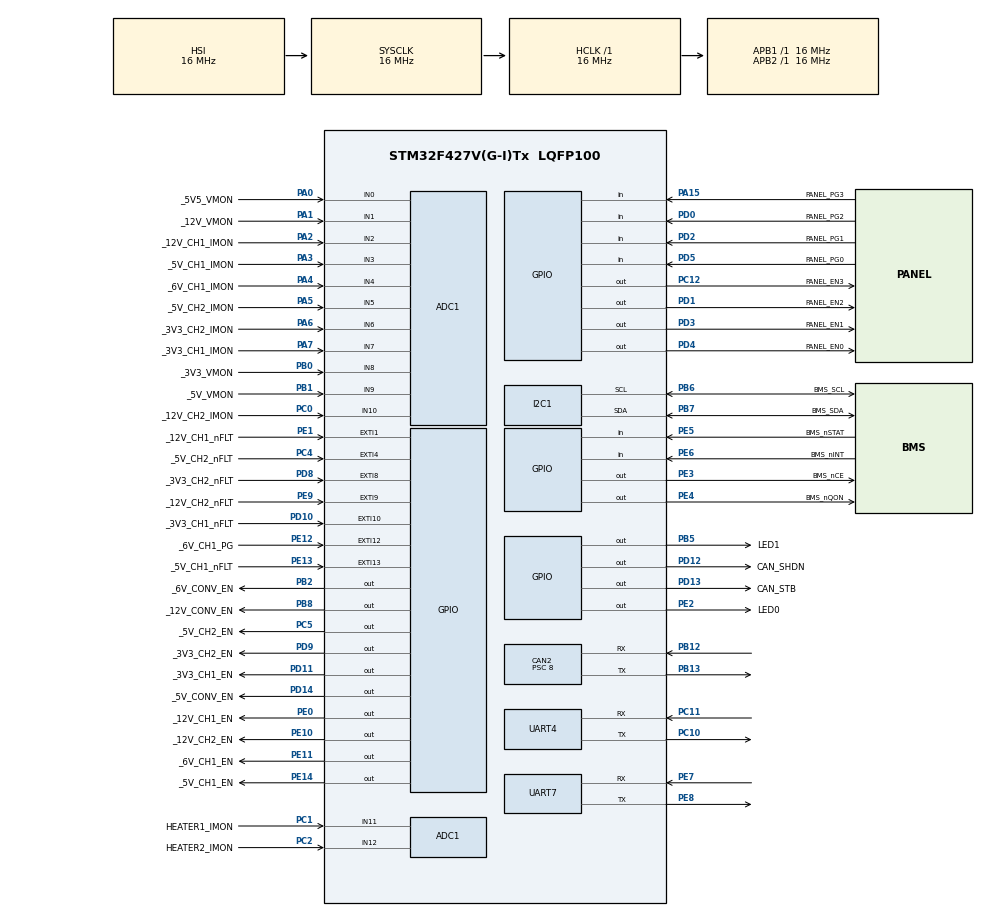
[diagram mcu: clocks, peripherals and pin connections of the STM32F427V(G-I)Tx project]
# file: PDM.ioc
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ADC1.Channel-0\#ChannelRegularConversion=ADC_CHANNEL_0
ADC1.Channel-1\#ChannelRegularConversion=ADC_CHANNEL_1
ADC1.Channel-10\#ChannelRegularConversion=ADC_CHANNEL_10
ADC1.Channel-11\#ChannelRegularConversion=ADC_CHANNEL_11
ADC1.Channel-12\#ChannelRegularConversion=ADC_CHANNEL_12
ADC1.Channel-13\#ChannelRegularConversion=ADC_CHANNEL_TEMPSENSOR
ADC1.Channel-2\#ChannelRegularConversion=ADC_CHANNEL_2
ADC1.Channel-3\#ChannelRegularConversion=ADC_CHANNEL_3
ADC1.Channel-4\#ChannelRegularConversion=ADC_CHANNEL_4
ADC1.Channel-5\#ChannelRegularConversion=ADC_CHANNEL_5
ADC1.Channel-6\#ChannelRegularConversion=ADC_CHANNEL_6
ADC1.Channel-7\#ChannelRegularConversion=ADC_CHANNEL_7
ADC1.Channel-8\#ChannelRegularConversion=ADC_CHANNEL_8
ADC1.Channel-9\#ChannelRegularConversion=ADC_CHANNEL_9
ADC1.ContinuousConvMode=DISABLE
ADC1.DMAContinuousRequests=DISABLE
ADC1.EOCSelection=ADC_EOC_SEQ_CONV
ADC1.ExternalTrigConv=ADC_SOFTWARE_START
ADC1.NbrOfConversion=14
ADC1.NbrOfConversionFlag=1
ADC1.Rank-0\#ChannelRegularConversion=1
ADC1.Rank-1\#ChannelRegularConversion=2
ADC1.Rank-10\#ChannelRegularConversion=11
ADC1.Rank-11\#ChannelRegularConversion=12
ADC1.Rank-12\#ChannelRegularConversion=13
ADC1.Rank-13\#ChannelRegularConversion=14
ADC1.Rank-2\#ChannelRegularConversion=3
ADC1.Rank-3\#ChannelRegularConversion=4
ADC1.Rank-4\#ChannelRegularConversion=5
ADC1.Rank-5\#ChannelRegularConversion=6
ADC1.Rank-6\#ChannelRegularConversion=7
ADC1.Rank-7\#ChannelRegularConversion=8
ADC1.Rank-8\#ChannelRegularConversion=9
ADC1.Rank-9\#ChannelRegularConversion=10
ADC1.SamplingTime-0\#ChannelRegularConversion=ADC_SAMPLETIME_112CYCLES
ADC1.SamplingTime-1\#ChannelRegularConversion=ADC_SAMPLETIME_112CYCLES
ADC1.SamplingTime-10\#ChannelRegularConversion=ADC_SAMPLETIME_112CYCLES
ADC1.SamplingTime-11\#ChannelRegularConversion=ADC_SAMPLETIME_112CYCLES
ADC1.SamplingTime-12\#ChannelRegularConversion=ADC_SAMPLETIME_112CYCLES
ADC1.SamplingTime-13\#ChannelRegularConversion=ADC_SAMPLETIME_112CYCLES
ADC1.SamplingTime-2\#ChannelRegularConversion=ADC_SAMPLETIME_112CYCLES
ADC1.SamplingTime-3\#ChannelRegularConversion=ADC_SAMPLETIME_28CYCLES
ADC1.SamplingTime-4\#ChannelRegularConversion=ADC_SAMPLETIME_112CYCLES
ADC1.SamplingTime-5\#ChannelRegularConversion=ADC_SAMPLETIME_112CYCLES
ADC1.SamplingTime-6\#ChannelRegularConversion=ADC_SAMPLETIME_112CYCLES
ADC1.SamplingTime-7\#ChannelRegularConversion=ADC_SAMPLETIME_112CYCLES
ADC1.SamplingTime-8\#ChannelRegularConversion=ADC_SAMPLETIME_112CYCLES
ADC1.SamplingTime-9\#ChannelRegularConversion=ADC_SAMPLETIME_112CYCLES
ADC1.master=1
CAN2.BS1=CAN_BS1_8TQ
CAN2.BS2=CAN_BS2_7TQ
CAN2.CalculateBaudRate=125000
CAN2.CalculateTimeBit=8000
CAN2.CalculateTimeQuantum=500.0
CAN2.Mode=CAN_MODE_NORMAL
CAN2.NART=DISABLE
CAN2.Prescaler=8
Dma.ADC1.0.Direction=DMA_PERIPH_TO_MEMORY
Dma.ADC1.0.FIFOMode=DMA_FIFOMODE_DISABLE
Dma.ADC1.0.Instance=DMA2_Stream0
Dma.ADC1.0.MemDataAlignment=DMA_MDATAALIGN_HALFWORD
Dma.ADC1.0.MemInc=DMA_MINC_ENABLE
Dma.ADC1.0.Mode=DMA_NORMAL
Dma.ADC1.0.PeriphDataAlignment=DMA_PDATAALIGN_HALFWORD
Dma.ADC1.0.PeriphInc=DMA_PINC_DISABLE
Dma.ADC1.0.Priority=DMA_PRIORITY_LOW
Dma.Request0=ADC1
FREERTOS.Tasks01=defaultTask,24,128,StartDefaultTask,Default,NULL,Dynamic,NULL,NULL;distrHandle,24,512,distributionTask,Default,NULL,Dynamic,NULL,NULL;telemetryHandle,40,512,telemetryTask,Default,NULL,Dynamic,NULL,NULL;heaterHandle,8,256,heaterTask,Default,NULL,Dynamic,NULL,NULL;BMSHandle,25,512,BMSTask,Default,NULL,Dynamic,NULL,NULL;commandHandle,42,512,commandTask,Default,NULL,Dynamic,NULL,NULL;analogHandle,8,512,analogTask,Default,NULL,Dynamic,NULL,NULL
Mcu.Family=STM32F4
Mcu.Name=STM32F427V(G-I)Tx
Mcu.Package=LQFP100
NVIC.CAN2_RX0_IRQn=true\:5\:0\:true\:false\:true\:true\:true\:true\:true
NVIC.DMA2_Stream0_IRQn=true\:6\:0\:true\:false\:true\:true\:false\:true\:true
NVIC.PriorityGroup=NVIC_PRIORITYGROUP_4
NVIC.UART4_IRQn=true\:7\:0\:true\:false\:true\:true\:true\:true\:true
PA0/WKUP.GPIO_Label=_5V5_VMON
PA0/WKUP.Signal=ADCx_IN0
PA1.GPIO_Label=_12V_VMON
PA1.Signal=ADCx_IN1
PA15.GPIO_Label=PANEL_PG3
PA15.Signal=GPIO_Input
PA2.GPIO_Label=_12V_CH1_IMON
PA2.Signal=ADCx_IN2
PA3.GPIO_Label=_5V_CH1_IMON
PA3.Signal=ADCx_IN3
PA4.GPIO_Label=_6V_CH1_IMON
PA4.Signal=ADCx_IN4
PA5.GPIO_Label=_5V_CH2_IMON
PA5.Signal=ADCx_IN5
PA6.GPIO_Label=_3V3_CH2_IMON
PA6.Signal=ADCx_IN6
PA7.GPIO_Label=_3V3_CH1_IMON
PA7.Signal=ADCx_IN7
PB0.GPIO_Label=_3V3_VMON
PB0.Signal=ADCx_IN8
PB1.GPIO_Label=_5V_VMON
PB1.Signal=ADCx_IN9
PB12.GPIO_PuPd=GPIO_PULLUP
PB12.Mode=CAN_Activate
PB12.Signal=CAN2_RX
PB13.Mode=CAN_Activate
PB13.Signal=CAN2_TX
PB2/BOOT1.GPIO_Label=_6V_CONV_EN
PB2/BOOT1.PinState=GPIO_PIN_RESET
PB2/BOOT1.Signal=GPIO_Output
PB5.GPIO_Label=LED1
PB5.GPIO_ModeDefaultOutputPP=GPIO_MODE_OUTPUT_OD
PB5.GPIO_PuPd=GPIO_NOPULL
PB5.Signal=GPIO_Output
PB6.GPIO_Label=BMS_SCL
PB6.Mode=I2C
PB6.Signal=I2C1_SCL
PB7.GPIO_Label=BMS_SDA
PB7.Mode=I2C
PB7.Signal=I2C1_SDA
PB8.GPIO_Label=_12V_CONV_EN
PB8.Signal=GPIO_Output
PC0.GPIO_Label=_12V_CH2_IMON
PC0.Signal=ADCx_IN10
PC1.GPIO_Label=HEATER1_IMON
PC1.Signal=ADCx_IN11
PC10.Mode=Asynchronous
PC10.Signal=UART4_TX
PC11.Mode=Asynchronous
PC11.Signal=UART4_RX
PC12.GPIO_Label=PANEL_EN3
PC12.Signal=GPIO_Output
PC2.GPIO_Label=HEATER2_IMON
PC2.Signal=ADCx_IN12
PC4.GPIO_Label=_5V_CH2_nFLT
PC4.GPIO_ModeDefaultEXTI=GPIO_MODE_IT_FALLING
PC4.GPIO_PuPd=GPIO_PULLUP
PC4.Signal=GPXTI4
PC5.GPIO_Label=_5V_CH2_EN
PC5.Signal=GPIO_Output
PC6.GPIO_Label=HEATER2_PWM
PC6.Signal=S_TIM3_CH1
PC7.GPIO_Label=HEATER1_PWM
PC7.Signal=S_TIM3_CH2
PD0.GPIO_Label=PANEL_PG2
PD0.Signal=GPIO_Input
PD1.GPIO_Label=PANEL_EN2
PD1.Signal=GPIO_Output
PD10.GPIO_Label=_3V3_CH1_nFLT
PD10.GPIO_ModeDefaultEXTI=GPIO_MODE_IT_FALLING
PD10.GPIO_PuPd=GPIO_PULLUP
PD10.Signal=GPXTI10
PD11.GPIO_Label=_3V3_CH1_EN
PD11.Signal=GPIO_Output
PD12.GPIO_Label=CAN_SHDN
PD12.Signal=GPIO_Output
PD13.GPIO_Label=CAN_STB
PD13.Signal=GPIO_Output
PD14.GPIO_Label=_5V_CONV_EN
PD14.Signal=GPIO_Output
PD2.GPIO_Label=PANEL_PG1
PD2.Signal=GPIO_Input
PD3.GPIO_Label=PANEL_EN1
PD3.Signal=GPIO_Output
PD4.GPIO_Label=PANEL_EN0
PD4.Signal=GPIO_Output
PD5.GPIO_Label=PANEL_PG0
PD5.Signal=GPIO_Input
PD8.GPIO_Label=_3V3_CH2_nFLT
PD8.GPIO_ModeDefaultEXTI=GPIO_MODE_IT_FALLING
PD8.GPIO_PuPd=GPIO_PULLUP
PD8.Signal=GPXTI8
PD9.GPIO_Label=_3V3_CH2_EN
PD9.Signal=GPIO_Output
PE0.GPIO_Label=_12V_CH1_EN
PE0.Signal=GPIO_Output
PE1.GPIO_Label=_12V_CH1_nFLT
PE1.GPIO_ModeDefaultEXTI=GPIO_MODE_IT_FALLING
PE1.GPIO_PuPd=GPIO_PULLUP
PE1.Signal=GPXTI1
PE10.GPIO_Label=_12V_CH2_EN
PE10.Signal=GPIO_Output
PE11.GPIO_Label=_6V_CH1_EN
PE11.Signal=GPIO_Output
PE12.GPIO_Label=_6V_CH1_PG
PE12.GPIO_ModeDefaultEXTI=GPIO_MODE_IT_FALLING
PE12.GPIO_PuPd=GPIO_PULLUP
PE12.Signal=GPXTI12
PE13.GPIO_Label=_5V_CH1_nFLT
PE13.GPIO_ModeDefaultEXTI=GPIO_MODE_IT_FALLING
PE13.GPIO_PuPd=GPIO_PULLUP
PE13.Signal=GPXTI13
PE14.GPIO_Label=_5V_CH1_EN
PE14.Signal=GPIO_Output
PE2.GPIO_Label=LED0
PE2.GPIO_ModeDefaultOutputPP=GPIO_MODE_OUTPUT_OD
PE2.GPIO_PuPd=GPIO_NOPULL
PE2.PinState=GPIO_PIN_SET
PE2.Signal=GPIO_Output
PE3.GPIO_Label=BMS_nCE
PE3.Signal=GPIO_Output
PE4.GPIO_Label=BMS_nQON
PE4.Signal=GPIO_Output
PE5.GPIO_Label=BMS_nSTAT
PE5.Signal=GPIO_Input
PE6.GPIO_Label=BMS_nINT
PE6.Signal=GPIO_Input
PE7.Mode=Asynchronous
PE7.Signal=UART7_RX
PE8.Mode=Asynchronous
PE8.Signal=UART7_TX
PE9.GPIO_Label=_12V_CH2_nFLT
PE9.GPIO_ModeDefaultEXTI=GPIO_MODE_IT_FALLING
PE9.GPIO_PuPd=GPIO_PULLUP
PE9.Signal=GPXTI9
ProjectManager.HeapSize=0x200
ProjectManager.StackSize=0x400
ProjectManager.TargetToolchain=STM32CubeIDE
RCC.AHBFreq_Value=16000000
RCC.APB1Freq_Value=16000000
RCC.APB2Freq_Value=16000000
RCC.CortexFreq_Value=16000000
RCC.HSE_VALUE=25000000
RCC.HSI_VALUE=16000000
RCC.LSE_VALUE=32768
RCC.SYSCLKFreq_VALUE=16000000
RCC.VCOOutputFreq_Value=192000000
SH.ADCx_IN0.0=ADC1_IN0,IN0
SH.ADCx_IN1.0=ADC1_IN1,IN1
SH.ADCx_IN10.0=ADC1_IN10,IN10
SH.ADCx_IN11.0=ADC1_IN11,IN11
SH.ADCx_IN12.0=ADC1_IN12,IN12
SH.ADCx_IN2.0=ADC1_IN2,IN2
SH.ADCx_IN3.0=ADC1_IN3,IN3
SH.ADCx_IN4.0=ADC1_IN4,IN4
SH.ADCx_IN5.0=ADC1_IN5,IN5
SH.ADCx_IN6.0=ADC1_IN6,IN6
SH.ADCx_IN7.0=ADC1_IN7,IN7
SH.ADCx_IN8.0=ADC1_IN8,IN8
SH.ADCx_IN9.0=ADC1_IN9,IN9
SH.S_TIM3_CH1.0=TIM3_CH1
SH.S_TIM3_CH2.0=TIM3_CH2
TIM2.Channel-Output\ Compare1\ No\ Output=TIM_CHANNEL_1
TIM2.Period=10-1
TIM2.Prescaler=16000000/100000-1
TIM2.TIM_MasterOutputTrigger=TIM_TRGO_UPDATE
UART4.VirtualMode=Asynchronous
UART7.VirtualMode=Asynchronous
VP_ADC1_TempSens_Input.Mode=IN-TempSens
VP_FREERTOS_VS_CMSIS_V2.Mode=CMSIS_V2
VP_TIM2_VS_ClockSourceINT.Mode=Internal
VP_TIM2_VS_no_output1.Mode=Output Compare1 No Output
board=custom

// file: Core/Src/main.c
/* USER CODE BEGIN Header */
/**
  ******************************************************************************
  * @file           : main.c
  * @brief          : Main program body
  ******************************************************************************
  * @attention
  *
  * Copyright (c) 2026 STMicroelectronics.
  * All rights reserved.
  *
  * This software is licensed under terms that can be found in the LICENSE file
  * in the root directory of this software component.
  * If no LICENSE file comes with this software, it is provided AS-IS.
  *
  ******************************************************************************
  */
/* USER CODE END Header */
#include "main.h"
#include "cmsis_os.h"
#include "adc.h"
#include "can.h"
#include "dma.h"
#include "i2c.h"
#include "tim.h"
#include "usart.h"
#include "gpio.h"
#include "bms.h"

/* USER CODE BEGIN Includes */
#include "powerDistribution.h"
#include "telemetry.h"
#include "analog.h"
/* USER CODE END Includes */

void SystemClock_Config(void);
void MX_FREERTOS_Init(void);

int main(void)
{

  /* MCU Configuration--------------------------------------------------------*/

  /* Reset of all peripherals, Initializes the Flash interface and the Systick. */
  HAL_Init();

  /* Configure the system clock */
  SystemClock_Config();

  /* Initialize all configured peripherals */
  MX_GPIO_Init();
  MX_DMA_Init();
  MX_ADC1_Init();
  MX_I2C1_Init();
  MX_CAN2_Init();
  MX_UART7_Init();
  MX_TIM2_Init();
  MX_UART4_Init();
  /* USER CODE BEGIN 2 */
  DISTRIBUTION_Init();
  TELEMETRY_Init(&hcan2, &huart4);
  ANALOG_Init(&htim2, &hadc1);
  BMS_init(&hi2c1);

  HAL_UART_Receive_IT(&huart4, &rx_byte, 1);

  /* USER CODE END 2 */

  /* Init scheduler */
  osKernelInitialize();  /* Call init function for freertos objects (in cmsis_os2.c) */
  MX_FREERTOS_Init();

  /* Start scheduler */
  osKernelStart();

  /* We should never get here as control is now taken by the scheduler */

  /* Infinite loop */
  while (1)
  {

  }
}

void SystemClock_Config(void)
{
  RCC_OscInitTypeDef RCC_OscInitStruct = {0};
  RCC_ClkInitTypeDef RCC_ClkInitStruct = {0};

  /** Configure the main internal regulator output voltage
  */
  __HAL_RCC_PWR_CLK_ENABLE();
  __HAL_PWR_VOLTAGESCALING_CONFIG(PWR_REGULATOR_VOLTAGE_SCALE3);

  /** Initializes the RCC Oscillators according to the specified parameters
  * in the RCC_OscInitTypeDef structure.
  */
  RCC_OscInitStruct.OscillatorType = RCC_OSCILLATORTYPE_HSI;
  RCC_OscInitStruct.HSIState = RCC_HSI_ON;
  RCC_OscInitStruct.HSICalibrationValue = RCC_HSICALIBRATION_DEFAULT;
  RCC_OscInitStruct.PLL.PLLState = RCC_PLL_NONE;
  if (HAL_RCC_OscConfig(&RCC_OscInitStruct) != HAL_OK)
  {
    Error_Handler();
  }

  /** Initializes the CPU, AHB and APB buses clocks
  */
  RCC_ClkInitStruct.ClockType = RCC_CLOCKTYPE_HCLK|RCC_CLOCKTYPE_SYSCLK
                              |RCC_CLOCKTYPE_PCLK1|RCC_CLOCKTYPE_PCLK2;
  RCC_ClkInitStruct.SYSCLKSource = RCC_SYSCLKSOURCE_HSI;
  RCC_ClkInitStruct.AHBCLKDivider = RCC_SYSCLK_DIV1;
  RCC_ClkInitStruct.APB1CLKDivider = RCC_HCLK_DIV1;
  RCC_ClkInitStruct.APB2CLKDivider = RCC_HCLK_DIV1;

  if (HAL_RCC_ClockConfig(&RCC_ClkInitStruct, FLASH_LATENCY_0) != HAL_OK)
  {
    Error_Handler();
  }
}

void Error_Handler(void)
{
  __disable_irq();
  while (1)
  {
  }
}

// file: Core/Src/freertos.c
/* USER CODE BEGIN Header */
/**
  ******************************************************************************
  * File Name          : freertos.c
  * Description        : Code for freertos applications
  ******************************************************************************
  * @attention
  *
  * Copyright (c) 2026 STMicroelectronics.
  * All rights reserved.
  *
  * This software is licensed under terms that can be found in the LICENSE file
  * in the root directory of this software component.
  * If no LICENSE file comes with this software, it is provided AS-IS.
  *
  ******************************************************************************
  */
/* USER CODE END Header */

#include "FreeRTOS.h"
#include "task.h"
#include "main.h"
#include "cmsis_os.h"

/* USER CODE BEGIN Includes */
#include "powerDistribution.h"
#include "usart.h"
#include "telemetry.h"
#include "analog.h"
#include "gpio.h"
#include "bms.h"
#include <string.h>
/* USER CODE END Includes */

/* Definitions for defaultTask */
osThreadId_t defaultTaskHandle;
const osThreadAttr_t defaultTask_attributes = {
  .name = "defaultTask",
  .stack_size = 128 * 4,
  .priority = (osPriority_t) osPriorityNormal,
};
/* Definitions for distrHandle */
osThreadId_t distrHandleHandle;
const osThreadAttr_t distrHandle_attributes = {
  .name = "distrHandle",
  .stack_size = 512 * 4,
  .priority = (osPriority_t) osPriorityNormal,
};
/* Definitions for telemetryHandle */
osThreadId_t telemetryHandleHandle;
const osThreadAttr_t telemetryHandle_attributes = {
  .name = "telemetryHandle",
  .stack_size = 512 * 4,
  .priority = (osPriority_t) osPriorityHigh,
};
/* Definitions for heaterHandle */
osThreadId_t heaterHandleHandle;
const osThreadAttr_t heaterHandle_attributes = {
  .name = "heaterHandle",
  .stack_size = 256 * 4,
  .priority = (osPriority_t) osPriorityLow,
};
/* Definitions for BMSHandle */
osThreadId_t BMSHandleHandle;
const osThreadAttr_t BMSHandle_attributes = {
  .name = "BMSHandle",
  .stack_size = 512 * 4,
  .priority = (osPriority_t) osPriorityNormal1,
};
/* Definitions for commandHandle */
osThreadId_t commandHandleHandle;
const osThreadAttr_t commandHandle_attributes = {
  .name = "commandHandle",
  .stack_size = 512 * 4,
  .priority = (osPriority_t) osPriorityHigh2,
};
/* Definitions for analogHandle */
osThreadId_t analogHandleHandle;
const osThreadAttr_t analogHandle_attributes = {
  .name = "analogHandle",
  .stack_size = 512 * 4,
  .priority = (osPriority_t) osPriorityLow,
};

void StartDefaultTask(void *argument);
void distributionTask(void *argument);
void telemetryTask(void *argument);
void heaterTask(void *argument);
void BMSTask(void *argument);
void commandTask(void *argument);
void analogTask(void *argument);

void MX_FREERTOS_Init(void); /* (MISRA C 2004 rule 8.1) */

void MX_FREERTOS_Init(void) {

  /* Create the thread(s) */
  /* creation of defaultTask */
  defaultTaskHandle = osThreadNew(StartDefaultTask, NULL, &defaultTask_attributes);

  /* creation of distrHandle */
  distrHandleHandle = osThreadNew(distributionTask, NULL, &distrHandle_attributes);

  /* creation of telemetryHandle */
  telemetryHandleHandle = osThreadNew(telemetryTask, NULL, &telemetryHandle_attributes);

  /* creation of heaterHandle */
  heaterHandleHandle = osThreadNew(heaterTask, NULL, &heaterHandle_attributes);

  /* creation of BMSHandle */
  BMSHandleHandle = osThreadNew(BMSTask, NULL, &BMSHandle_attributes);

  /* creation of commandHandle */
  commandHandleHandle = osThreadNew(commandTask, NULL, &commandHandle_attributes);

  /* creation of analogHandle */
  analogHandleHandle = osThreadNew(analogTask, NULL, &analogHandle_attributes);

}

void StartDefaultTask(void *argument)
{
  /* USER CODE BEGIN StartDefaultTask */
  /* Infinite loop */
  for(;;)
  {

	//LED heartbeat
    osDelay(1000);
    HAL_GPIO_WritePin(LED0_GPIO_Port, LED0_Pin, GPIO_PIN_RESET);
    osDelay(100);
    HAL_GPIO_WritePin(LED0_GPIO_Port, LED0_Pin, GPIO_PIN_SET);
    osDelay(100);
    HAL_GPIO_WritePin(LED0_GPIO_Port, LED0_Pin, GPIO_PIN_RESET);
    osDelay(100);
    HAL_GPIO_WritePin(LED0_GPIO_Port, LED0_Pin, GPIO_PIN_SET);

  }
  /* USER CODE END StartDefaultTask */
}

void distributionTask(void *argument)
{
  /* USER CODE BEGIN distributionTask */
	/* Infinite loop */
	EPS_CommandTypedef distributionCMD;
	for(;;)
	{
		if (hdist.state == DISTRIBUTION_STARTUP)
		{
			TELEMETRY_printf("Enabling all converters\r\n");
			//Enable the converters
			HAL_GPIO_WritePin(_5V_CONV_EN_GPIO_Port, _5V_CONV_EN_Pin, GPIO_PIN_SET);
			HAL_GPIO_WritePin(_6V_CONV_EN_GPIO_Port, _6V_CONV_EN_Pin, GPIO_PIN_SET);
			HAL_GPIO_WritePin(_12V_CONV_EN_GPIO_Port, _12V_CONV_EN_Pin, GPIO_PIN_SET);
			TELEMETRY_printf("Turning on OBC\r\n");
			//Turn on the OBC and move to normal operation mode
			HAL_GPIO_WritePin(_3V3_CH1_EN_GPIO_Port, _3V3_CH1_EN_Pin, GPIO_PIN_SET);
			hdist.convStates = DEFAULT_CONV_STATE;
			hdist.state = DISTRIBUTION_NORMAL;
			TELEMETRY_printf("Begin normal operation\r\n");
		}
		if (xQueueReceive(distributionQueue, &distributionCMD, pdMS_TO_TICKS(10)) == pdPASS)
		{
			DISTRIBUTION_UpdateState(distributionCMD);
			if (hdist.state == DISTRIBUTION_NORMAL)
			{
				if (distributionCMD.type == CMD_EFUSE)
				{
					DISTRIBUTION_ApplyeFuseCommands(distributionCMD.data);
				}

			}
			else if (hdist.state == DISTRIBUTION_POWER_SAVE)
			{
				DISTRIBUTION_DisableAlleFuses();
				DISTRIBUTION_DisableConverters();
			}
			else if (hdist.state == DISTRIBUTION_RESET)
			{
				TELEMETRY_printf("Beginning reset procedure\r\n...");
				//Turn off all converters and then turn off OBC
				TELEMETRY_printf("Turning off all eFuses\r\n...");
				DISTRIBUTION_DisableAlleFuses();
				DISTRIBUTION_DisableConverters();

				//Disable the OBC, wait 2 seconds then go through normal startup.
				TELEMETRY_printf("Power cycling OBC\r\n...");
				HAL_GPIO_WritePin(_3V3_CH1_EN_GPIO_Port, _3V3_CH1_EN_Pin, GPIO_PIN_RESET);
				osDelay(2000);
				HAL_GPIO_WritePin(_3V3_CH1_EN_GPIO_Port, _3V3_CH1_EN_Pin, GPIO_PIN_SET);
				TELEMETRY_printf("OBC powered up, begin startup procedure\r\n");
				hdist.state = DISTRIBUTION_STARTUP;
			}

		}
	  }
  /* USER CODE END distributionTask */
}

void telemetryTask(void *argument)
{
  /* USER CODE BEGIN telemetryTask */
  /* Infinite loop */
	for(;;)
	{
		TELEMETRY_send3V3Telem();
		TELEMETRY_send5VTelem();
		TELEMETRY_send6VTelem();
		TELEMETRY_send12VTelem();
		TELEMETRY_sendSysTelem();
		TELEMETRY_sendBattTelem();
		TELEMETRY_sendMPPTTelem();
		TELEMETRY_printf("Sent CAN telemetry\r\n");
		TELEMETRY_updateWatchdog();
		osDelay(100);

	}
  /* USER CODE END telemetryTask */
}

void heaterTask(void *argument)
{
  for(;;)
  {
    osDelay(1);
  }
}

void BMSTask(void *argument)
{
  /* USER CODE BEGIN BMSTask */
  /* Infinite loop */
  for(;;)
  {
	  BMS_readBMS();
	  osDelay(1000);
  }
  /* USER CODE END BMSTask */
}

void commandTask(void *argument)
{
  /* USER CODE BEGIN commandTask */
  /* Infinite loop */
	//uint8_t local_rx_line[UART_BUFFER_LENGTH];
	//uint16_t local_len;
	CAN_CommandTypedef can_msg;
	for (;;)
	{
		if (xQueueReceive(canCommandQueue, &can_msg, pdMS_TO_TICKS(10)) == pdPASS)
		{
			TELEMETRY_CANCMDHandler(&can_msg);
		}
		/*
		if (rx_ready)
		{
			taskENTER_CRITICAL();
			memcpy(local_rx_line, rx_line, UART_BUFFER_LENGTH);
			local_len = rx_msg_len;
			rx_ready = 0;
			taskEXIT_CRITICAL();
			uartCMDHandler(local_rx_line, local_len);
		}
		*/
		osDelay(100);
    }
  /* USER CODE END commandTask */
}

void analogTask(void *argument)
{
  /* USER CODE BEGIN analogTask */
  /* Infinite loop */
  for(;;)
  {
	  ANALOG_startScan();
	  osThreadFlagsWait(0x01, osFlagsWaitAny, osWaitForever);
	  ANALOG_process();
	  osDelay(10);
  }
  /* USER CODE END analogTask */
}

/* USER CODE BEGIN Application */
void HAL_ADC_ConvCpltCallback(ADC_HandleTypeDef *hadc)
{
    if (hadc->Instance == ADC1)
    {
    	osThreadFlagsSet(analogHandleHandle, 0x01);
    }
}

/* USER CODE END Application */
